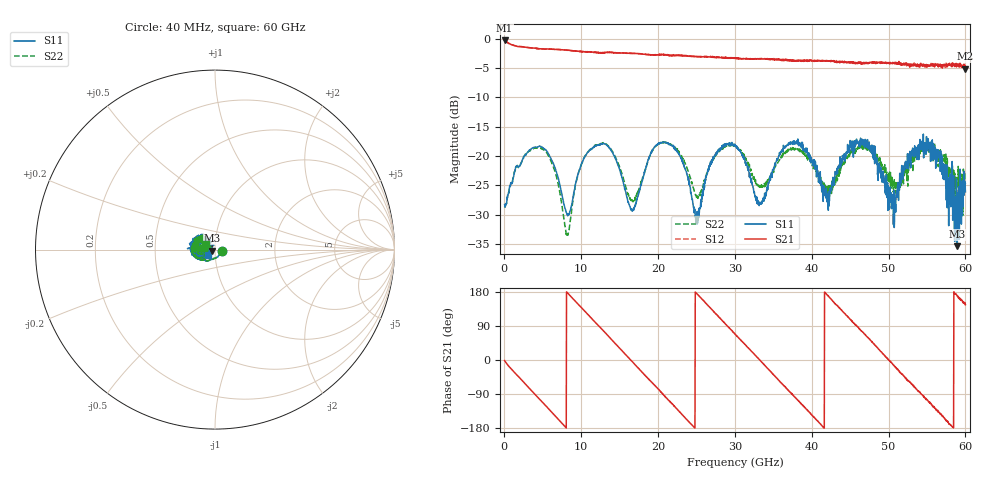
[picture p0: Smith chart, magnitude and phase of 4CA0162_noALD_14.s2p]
! File created by 'SoftPlot +Plus+ Measurement Management Software'
! SoftPlot +Plus+ Measurement Management Software
! Start 40.000000 MHz  Stop 60.000000 GHz  Points 1601
# MHZ S RI R 50
! S-Parameter data, F S11 S21 S12 S22
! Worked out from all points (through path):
!   1601 points, 40 MHz to 60 GHz, reference 50 ohm
!   highest |S21| = -0.33 dB at 40 MHz (marker M1); lowest = -5.1 dB at 59.93 GHz (marker M2)
!   group delay of S21, straight-line fit = 59.6 ps
!   lowest |S11| = -35.4 dB at 58.91 GHz (marker M3), VSWR 1.03, Z = 48.4 - j0.642 ohm
!   |S11| at or under -10 dB: start of sweep to end of sweep
!   |S22| runs from -33.5 to -17.6 dB; largest |S21 - S12| = 0.048
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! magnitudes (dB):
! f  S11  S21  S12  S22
! 40 MHz  -28.3  -0.3  -0.4  -28.5
! 4.762 GHz  -18.4  -1.8  -1.8  -18.7
! 6.561 GHz  -21.9  -1.8  -1.9  -22.5
! 8.21 GHz  -30.0  -2.0  -2.0  -33.5
! 10.05 GHz  -21.4  -2.2  -2.2  -21.4
! 13.38 GHz  -18.2  -2.3  -2.4  -18.1
! 16.68 GHz  -29.4  -2.5  -2.5  -27.5
! 20.05 GHz  -18.0  -2.8  -2.8  -18.0
! 22.86 GHz  -20.0  -2.9  -2.9  -19.7
! 25 GHz  -31.4  -3.1  -3.1  -27.0
! 27.13 GHz  -20.2  -3.1  -3.1  -20.6
! 30.02 GHz  -18.4  -3.3  -3.3  -18.3
! 33.24 GHz  -28.1  -3.4  -3.5  -25.0
! 36.8 GHz  -18.1  -3.6  -3.7  -19.3
! 40.03 GHz  -20.7  -3.7  -3.8  -21.2
! 42.01 GHz  -27.9  -3.8  -3.8  -26.5
! 46.96 GHz  -17.2  -4.1  -4.2  -18.3
! 50.03 GHz  -25.7  -4.2  -4.2  -24.2
! 55.24 GHz  -17.7  -4.7  -4.5  -19.3
! 58.91 GHz  -35.4  -4.6  -4.3  -25.0
! 59.93 GHz  -24.4  -5.1  -4.7  -25.9
! 60 GHz  -26.1  -5.0  -5.1  -24.6
